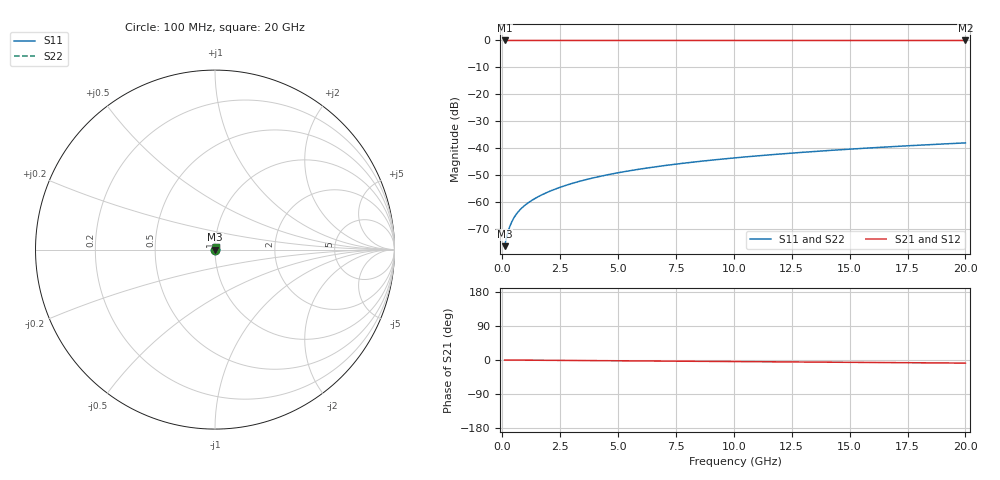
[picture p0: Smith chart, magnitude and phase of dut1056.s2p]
! Touchstone file exported from HFSS 2026.1.0
!  File:  C:/ffzhzh/LocalFiles/Ansys_Project_Files/temp_train_TSV_1056_1783189575_18472.aedt
!  Generated:  02:27:39 AM Jul  5, 2026
!  Design:  TSV
!  Project:  temp_train_TSV_1056_1783189575_18472
! Variables:
!  h_bsmrdl = 2um
!  h_ox = 20um
!  h_rdl = 5um
!  h_sub = 80.4um
!  h_tmrdl = 5um
!  h_tsv = 80.4um
!  h_via = 3um
!  l_bsmrdl = 300um
!  l_sub = 421.48um
!  l_tmrdl = 200um
!  m_sub = 200um
!  pitch = 47.69um
!  r_tsv = 10.74um
!  s_tmrdl = 10um
!  w_bsmrdl = 18um
!  w_sub = 500um
!  w_tmrdl = 12um
!  x_tsv_center1 = 206um
!  x_tsv_center2 = 524um
!  x_tsv_center3 = 736um
!  x_tsv_center4 = 1054um
!  x_tsv_center5 = 1266um
!  x_tsv_center6 = 1584um
# GHz S MA R 50.000000
! Terminal data exported
! Port[1] = TSV1_1_T1
! Port[2] = TSV1_1_T2
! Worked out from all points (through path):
!   200 points, 100 MHz to 20 GHz, reference 50 ohm
!   highest |S21| = 0.00 dB at 100 MHz (marker M1); lowest = 0.0 dB at 20 GHz (marker M2)
!   group delay of S21, straight-line fit = 1.13 ps
!   lowest |S11| = -76.2 dB at 100 MHz (marker M3), VSWR 1.00, Z = 50 + j0.0105 ohm
!   |S11| at or under -10 dB: start of sweep to end of sweep
!   |S22| runs from -76.2 to -37.9 dB; largest |S21 - S12| = 2.3e-15
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0.1  0.000155 42.7  0.9999 -0.0  0.9999 -0.0  0.000155 42.7
! Gamma 0 0 0 0
! Port Impedance 50 0 50 0
0.2  0.0002426 58.7  0.9999 -0.1  0.9999 -0.1  0.0002426 58.7
0.3  0.000337 64.7  0.9999 -0.1  0.9999 -0.1  0.000337 64.7
0.4  0.0004296 67.3  0.9998 -0.2  0.9998 -0.2  0.0004296 67.3
0.5  0.0005181 68.6  0.9998 -0.2  0.9998 -0.2  0.0005181 68.6
0.6  0.0006019 69.3  0.9998 -0.3  0.9998 -0.3  0.0006019 69.3
0.7  0.0006816 69.8  0.9998 -0.3  0.9998 -0.3  0.0006816 69.8
0.9  0.0008313 70.6  0.9997 -0.4  0.9997 -0.4  0.0008313 70.6
1.1  0.0009726 71.4  0.9997 -0.5  0.9997 -0.5  0.0009726 71.4
1.3  0.001109 72.2  0.9997 -0.5  0.9997 -0.5  0.001109 72.2
1.6  0.001311 73.3  0.9996 -0.7  0.9996 -0.7  0.001311 73.3
1.9  0.001511 74.3  0.9996 -0.8  0.9996 -0.8  0.001511 74.3
2.6  0.001977 76.0  0.9996 -1.1  0.9996 -1.1  0.001977 76.0
3.5  0.002572 77.2  0.9995 -1.4  0.9995 -1.4  0.002572 77.2
4.2  0.003029 77.8  0.9994 -1.7  0.9994 -1.7  0.003029 77.8
5  0.003546 78.1  0.9994 -2.1  0.9994 -2.1  0.003546 78.1
6.8  0.004687 78.5  0.9993 -2.8  0.9993 -2.8  0.004687 78.5
8.3  0.005621 78.6  0.9992 -3.4  0.9992 -3.4  0.005621 78.5
10.1  0.00673 78.5  0.9991 -4.1  0.9991 -4.1  0.00673 78.5
13.4  0.00874 78.0  0.999 -5.5  0.999 -5.5  0.008741 78.0
16.7  0.01072 77.3  0.9988 -6.8  0.9988 -6.8  0.01072 77.2
20  0.01267 76.3  0.9987 -8.2  0.9987 -8.2  0.01267 76.3
